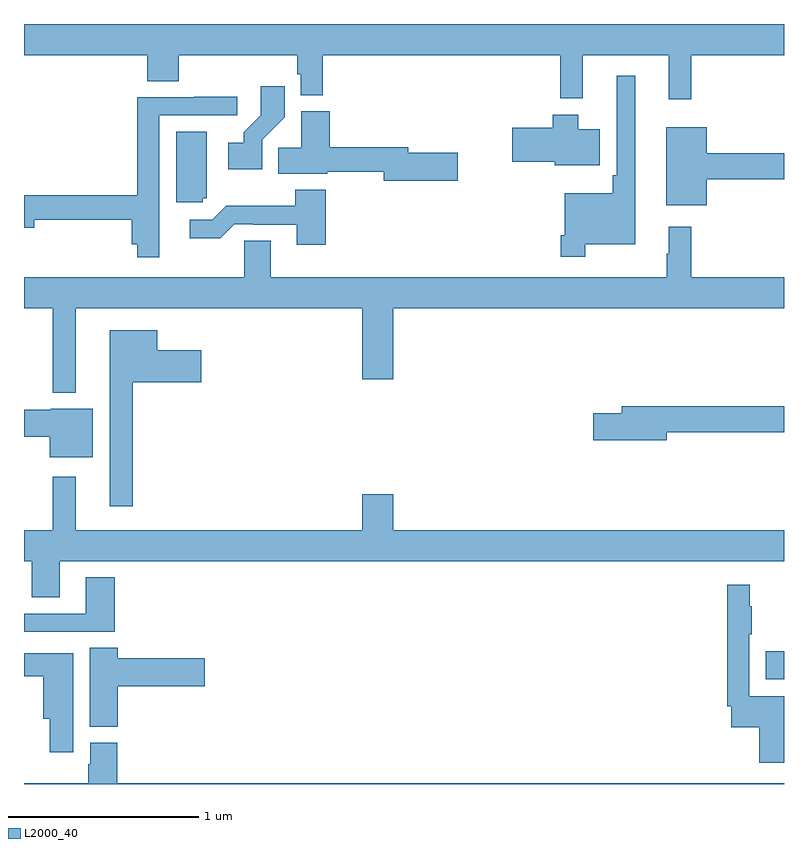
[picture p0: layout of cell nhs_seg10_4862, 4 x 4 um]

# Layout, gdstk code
import gdstk
lib = gdstk.Library(unit=1e-6, precision=1e-09)
def R(c, l, rs):  # rectangles x0, y0, x1, y1
    for r in rs: c.add(gdstk.rectangle(r[:2], r[2:], *l))
def P(c, l, *ps):  # polygons
    for p in ps: c.add(gdstk.Polygon(p, *l))
L2000_40 = (2000, 40)

nhs_seg10_4862 = lib.new_cell('nhs_seg10_4862')
R(nhs_seg10_4862, L2000_40, [(394.903,1277.051,395,1277.199)])
P(nhs_seg10_4862, L2000_40, [(394.511,1280.336),(395,1280.336),(395,1280.5),(391,1280.5),(391,1280.336),(391.649,1280.336),(391.649,1280.2),(391.814,1280.2),(391.814,1280.336),(392.437,1280.336),(392.437,1280.235),(392.457,1280.235),(392.457,1280.126),(392.573,1280.126),(392.573,1280.336),(393.823,1280.336),(393.823,1280.108),(393.941,1280.108),(393.941,1280.336),(394.394,1280.336),(394.394,1280.103),(394.511,1280.103)],
  [(393.955,1279.34),(394.216,1279.34),(394.216,1280.227),(394.119,1280.227),(394.119,1279.705),(394.099,1279.705),(394.099,1279.609),(393.846,1279.609),(393.846,1279.387),(393.826,1279.387),(393.826,1279.275),(393.955,1279.275)],
  [(392.253,1279.891),(392.372,1280.01),(392.372,1280.173),(392.247,1280.173),(392.247,1280.021),(392.156,1279.931),(392.156,1279.876),(392.076,1279.876),(392.076,1279.736),(392.253,1279.736)],
  [(391.713,1280.019),(392.122,1280.019),(392.122,1280.118),(391.897,1280.118),(391.897,1280.115),(391.597,1280.115),(391.597,1279.598),(391,1279.598),(391,1279.427),(391.054,1279.427),(391.054,1279.47),(391.568,1279.47),(391.568,1279.34),(391.597,1279.34),(391.597,1279.272),(391.713,1279.272)],
  [(393.283,1279.823),(393.022,1279.823),(393.022,1279.852),(392.609,1279.852),(392.609,1280.041),(392.459,1280.041),(392.459,1279.85),(392.338,1279.85),(392.338,1279.712),(392.596,1279.712),(392.596,1279.723),(392.894,1279.723),(392.894,1279.676),(393.283,1279.676)],
  [(394.03,1279.945),(393.916,1279.945),(393.916,1280.023),(393.782,1280.023),(393.782,1279.953),(393.57,1279.953),(393.57,1279.775),(393.794,1279.775),(393.794,1279.757),(394.03,1279.757)],
  [(394.594,1279.684),(395,1279.684),(395,1279.82),(394.594,1279.82),(394.594,1279.957),(394.379,1279.957),(394.379,1279.547),(394.594,1279.547)],
  [(391.941,1279.584),(391.963,1279.584),(391.963,1279.933),(391.802,1279.933),(391.802,1279.563),(391.941,1279.563)],
  [(392.588,1279.627),(392.428,1279.627),(392.428,1279.543),(392.065,1279.543),(391.992,1279.47),(391.872,1279.47),(391.872,1279.373),(392.033,1279.373),(392.106,1279.446),(392.206,1279.446),(392.206,1279.443),(392.435,1279.443),(392.435,1279.338),(392.588,1279.338)],
  [(391.273,1279.004),(392.78,1279.004),(392.78,1278.63),(392.944,1278.63),(392.944,1279.004),(395,1279.004),(395,1279.168),(394.511,1279.168),(394.511,1279.432),(394.394,1279.432),(394.394,1279.292),(394.383,1279.292),(394.383,1279.168),(392.299,1279.168),(392.299,1279.358),(392.16,1279.358),(392.16,1279.168),(391,1279.168),(391,1279.004),(391.152,1279.004),(391.152,1278.56),(391.273,1278.56)],
  [(391.573,1278.614),(391.933,1278.614),(391.933,1278.784),(391.702,1278.784),(391.702,1278.889),(391.451,1278.889),(391.451,1277.961),(391.573,1277.961)],
  [(394.384,1278.352),(395,1278.352),(395,1278.488),(394.145,1278.488),(394.145,1278.452),(393.996,1278.452),(393.996,1278.31),(394.384,1278.31)],
  [(391.363,1278.475),(391.14,1278.475),(391.14,1278.47),(391,1278.47),(391,1278.328),(391.136,1278.328),(391.136,1278.221),(391.363,1278.221)],
  [(391.189,1277.672),(395,1277.672),(395,1277.836),(392.944,1277.836),(392.944,1278.025),(392.78,1278.025),(392.78,1277.836),(391.273,1277.836),(391.273,1278.118),(391.152,1278.118),(391.152,1277.836),(391,1277.836),(391,1277.672),(391.042,1277.672),(391.042,1277.482),(391.189,1277.482)],
  [(391.478,1277.587),(391.325,1277.587),(391.325,1277.397),(391,1277.397),(391,1277.301),(391.478,1277.301)],
  [(395,1276.963),(394.818,1276.963),(394.818,1277.287),(394.831,1277.287),(394.831,1277.435),(394.82,1277.435),(394.82,1277.548),(394.702,1277.548),(394.702,1276.909),(394.722,1276.909),(394.722,1276.798),(394.871,1276.798),(394.871,1276.611),(395,1276.611)],
  [(391.493,1277.015),(391.951,1277.015),(391.951,1277.162),(391.493,1277.162),(391.493,1277.216),(391.346,1277.216),(391.346,1276.801),(391.493,1276.801)],
  [(391.258,1277.188),(391,1277.188),(391,1277.066),(391.1,1277.066),(391.1,1276.844),(391.136,1276.844),(391.136,1276.668),(391.258,1276.668)],
  [(395,1276.504),(391.49,1276.504),(391.49,1276.716),(391.349,1276.716),(391.349,1276.605),(391.337,1276.605),(391.337,1276.504),(391,1276.504),(391,1276.5),(395,1276.5)])

lib.write_gds('nhs_seg10_4862.gds')
